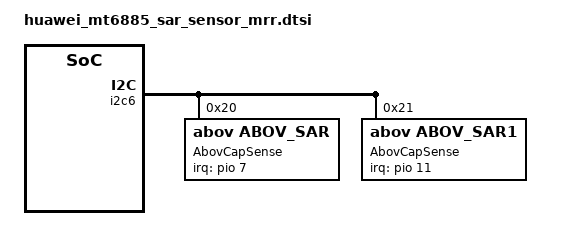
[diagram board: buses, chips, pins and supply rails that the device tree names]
/*
 * Copyright (c) Huawei Technologies Co., Ltd. 2020-2020. All rights reserved.
 * Description: mrr lte sensor  dts config
 * Author: liuzhuang
 * Create: 2020-8-20
 */

&xhub{
	sar {
		sar1 {
			compatible="huawei,abov-a96t3x6";
			sensor_type="cap_prox";
			calibrate_type=<6>; // bit config 110(b)
			calibrate_order = "999 2 1"; // 0:free  1:near  2:far
			sensor_list_info_id=<20>;
			status = "ok";
			sensorlist_name="CAP_PROX sensor-a96t3x6";
			vendor="abov";
		};
		sar2 {
			compatible="huawei,abov-a96t3x6";
			sensor_type="cap_prox1";
			calibrate_type=<6>; // bit config 110(b)
			calibrate_order = "999 2 1"; // 0:free  1:near  2:far
			sensor_list_info_id=<39>;
			status = "ok";
			vendor="abov";
		};
	};
};

&pio {
	sar0_eint_as_int: sar0_eint_as_int {
		pins_cmd_dat {
			pinmux = <PINMUX_GPIO7__FUNC_GPIO7>;
			slew-rate = <0>;
			bias-disable;
		};
	};
	sar1_eint_as_int1: sar1_eint_as_int1 {
		pins_cmd_dat {
			pinmux = <PINMUX_GPIO11__FUNC_GPIO11>;
			slew-rate = <0>;
			bias-disable;
		};
	};
};

&i2c6 {
	#address-cells = <1>;
	#size-cells = <0>;
	sar@20 {
		status = "okay";
		compatible = "abov,abov_sar";
		reg = <0x20>;
		interrupt-parent = <&pio>;
		interrupts = <7 IRQ_TYPE_EDGE_FALLING 7 0>;
		reg_array_len = <0x02>;
		reg_array_val = <0x09 0xED 0xFB 0x01>;
		cap,use_channel_ch0 = <0x00>;
		cap,use_channel_ch1 = <0x01>;
		label = "AbovCapSense";
	};
	sar@21 {
		status = "okay";
		compatible = "abov,abov_sar1";
		reg = <0x21>;
		interrupt-parent = <&pio>;
		interrupts = <11 IRQ_TYPE_EDGE_FALLING 11 0>;
		reg_array_len = <0x02>;
		reg_array_val = <0x09 0xEE 0xFB 0x01>;
		cap,use_channel_ch0 = <0x00>;
		cap,use_channel_ch1 = <0x01>;
		label = "AbovCapSense";
	};
};
